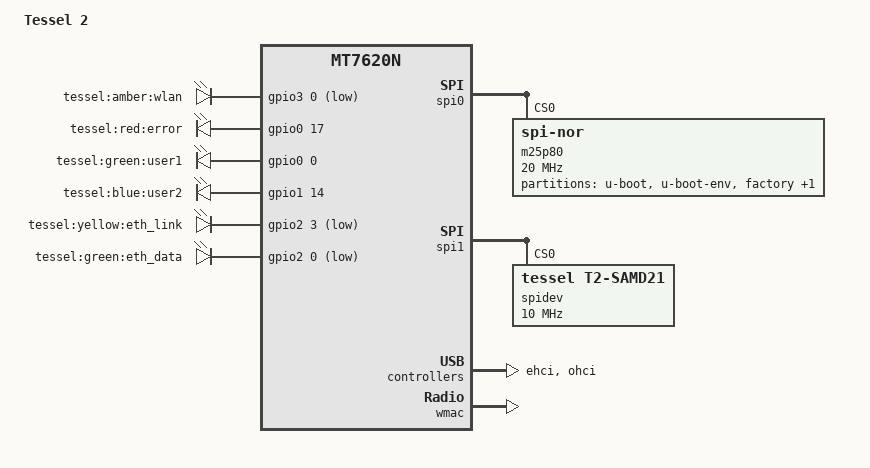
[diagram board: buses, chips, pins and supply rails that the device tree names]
/dts-v1/;

/include/ "mt7620n.dtsi"

/ {
	compatible = "tessel,tessel2", "ralink,mt7620n-soc";
	model = "Tessel 2";

	chosen {
		bootargs = "console=ttyS0,115200";
	};

	leds {
		compatible = "gpio-leds";
		wlan {
			label = "tessel:amber:wlan";
			gpios = <&gpio3 0 1>; // GPIO 72 WLED_N
		};
		error {
			label = "tessel:red:error";
			gpios = <&gpio0 17 0>; // GPIO 17 WDT_RST_N
		};
		user1 {
			label = "tessel:green:user1";
			gpios = <&gpio0 0 0>; // GPIO0
		};
		user2 {
			label = "tessel:blue:user2";
			gpios = <&gpio1 14 0>; // GPIO 38 HOLD
		};
		eth_link {
			label = "tessel:yellow:eth_link";
			gpios = <&gpio2 3 1>; // GPIO 43 TCLK
		};
		eth_data {
			label = "tessel:green:eth_data";
			gpios = <&gpio2 0 1>; // GPIO 40 TDO
		};
	};
};


&gpio1 {
        status = "okay";
};

&gpio2 {
	status = "okay";
};

&gpio3 {
	status = "okay";
};

&spi0 {
        status = "okay";

	m25p80@0 {
		#address-cells = <1>;
		#size-cells = <1>;
		compatible = "jedec,spi-nor";
		reg = <0>;
		spi-max-frequency = <20000000>;

		partition@0 {
			label = "u-boot";
			reg = <0x0 0x30000>;
			read-only;
		};

		partition@30000 {
			label = "u-boot-env";
			reg = <0x30000 0x10000>;
			read-only;
		};

		factory: partition@40000 {
			label = "factory";
			reg = <0x40000 0x10000>;
			read-only;
		};

		partition@50000 {
			label = "firmware";
			reg = <0x50000 0x1fb0000>;
		};
	};
};

&spi1 {
	status = "okay";
	spidev@0 {
		compatible = "tessel,t2-samd21";
		reg = <0>;
		spi-max-frequency = <10000000>;
	};
};


&ehci {
	status = "okay";
};

&ohci{
	status = "okay";
};

&ethernet {
	mtd-mac-address = <&factory 0x4>;
};

&wmac {
	ralink,mtd-eeprom = <&factory 0>;
};

&pinctrl {
	state_default: pinctrl0 {
		default {
			ralink,group = "ephy", "wled", "pa", "wdt", "uartf", "i2c";
			ralink,function = "gpio";
		};
	};
};

